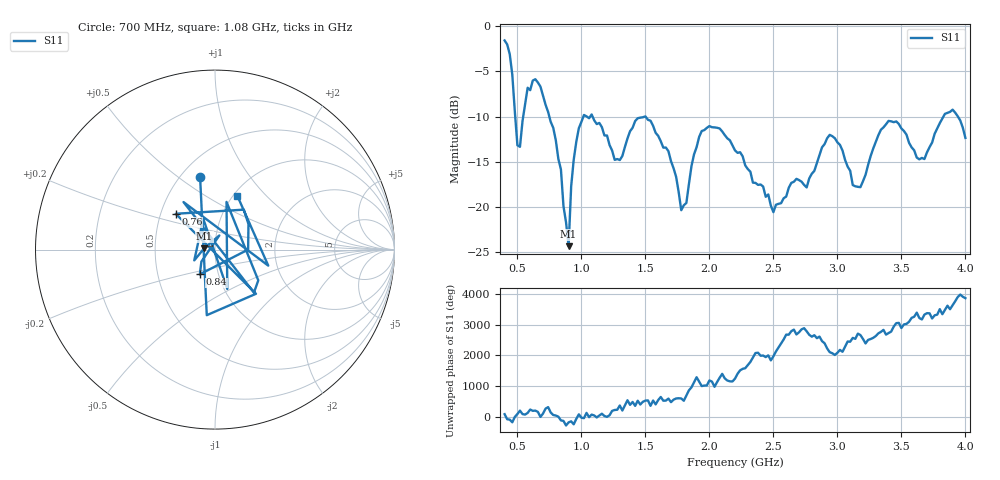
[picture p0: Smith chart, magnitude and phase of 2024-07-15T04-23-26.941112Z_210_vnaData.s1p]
!Created with skrf (http://scikit-rf.org).
# Hz S RI R 50.0
!freq ReS11 ImS11
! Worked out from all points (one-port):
!   181 points, 400 MHz to 4 GHz, reference 50 ohm
!   lowest |S11| = -24.3 dB at 900 MHz (marker M1), VSWR 1.13, Z = 44.3 + j0.651 ohm
!   |S11| at or under -10 dB: 749.6 MHz to 1.015 GHz (265.4 MHz wide, 30.1 % of centre); 1.088 GHz to 1.493 GHz (405.5 MHz wide, 31.4 % of centre); 1.502 GHz to 3.828 GHz (2.326 GHz wide, 87.3 % of centre) (the widest 3 of 6)
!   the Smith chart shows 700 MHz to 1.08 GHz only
!   S11 on the Smith chart (normalised r, x): 700 MHz: 0.62, +0.61; 760 MHz: 0.60, +0.26; 840 MHz: 0.81, -0.23; 1.08 GHz: 1.04, +0.70
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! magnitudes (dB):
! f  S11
! 400 MHz  -1.6
! 460 MHz  -5.3
! 500 MHz  -13.2
! 580 MHz  -6.8
! 700 MHz  -7.7
! 760 MHz  -10.6
! 840 MHz  -15.8
! 860 MHz  -19.9
! 900 MHz  -24.3
! 920 MHz  -17.7
! 960 MHz  -12.8
! 1.08 GHz  -9.8
! 1.3 GHz  -14.8
! 1.5 GHz  -10.0
! 1.76 GHz  -18.3
! 1.82 GHz  -19.5
! 1.94 GHz  -11.6
! 2.2 GHz  -13.7
! 2.5 GHz  -20.6
! 2.66 GHz  -17.2
! 2.94 GHz  -12.0
! 3.1 GHz  -16.0
! 3.18 GHz  -17.8
! 3.4 GHz  -10.5
! 3.56 GHz  -12.9
! 3.68 GHz  -14.7
! 3.9 GHz  -9.2
! 4 GHz  -12.3
